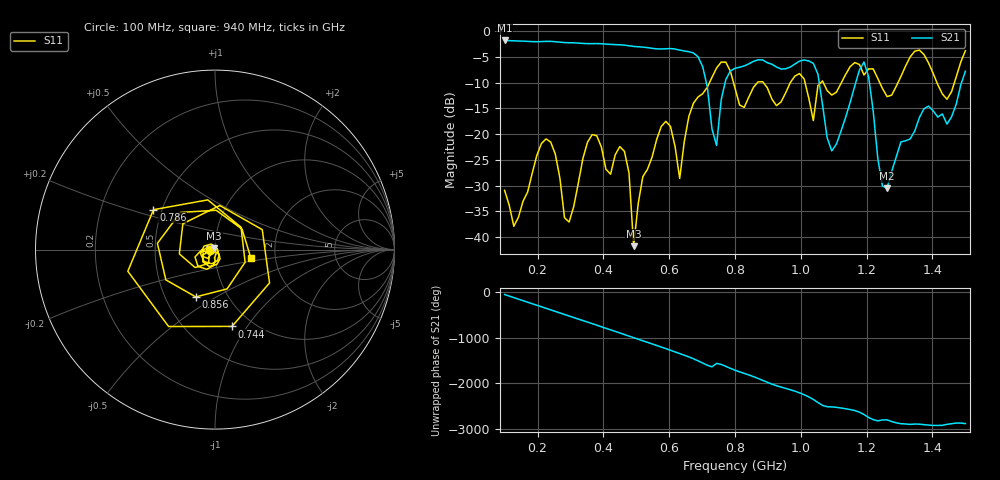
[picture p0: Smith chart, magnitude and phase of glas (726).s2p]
! NanoVNA-App
! Date: 2025-09-25 16:01:08
! Start: 100MHz Stop: 1,5GHz Points: 101
! S-Parameter data: F S11 S21 S12 S22
# Hz S RI R 50
!  Frequency  S11_Real  S11_Imag  S21_Real  S21_Imag  S12_Real  S12_Imag  S22_Real  S22_Imag
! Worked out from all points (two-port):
!   101 points, 100 MHz to 1.5 GHz, reference 50 ohm
!   highest |S21| = -1.80 dB at 100 MHz (marker M1); lowest = -30.5 dB at 1.262 GHz (marker M2)
!   |S21| within 3 dB of the highest: start of sweep to 684.4 MHz
!   lowest |S11| = -41.8 dB at 492 MHz (marker M3), VSWR 1.02, Z = 49.5 + j0.62 ohm
!   |S11| at or under -10 dB: start of sweep to 722.4 MHz; 795.5 MHz to 868.1 MHz (72.58 MHz wide, 8.73 % of centre); 886.2 MHz to 967.9 MHz (81.76 MHz wide, 8.82 % of centre) (the widest 3 of 7)
!   S12 and S22 are empty: the file has one direction only
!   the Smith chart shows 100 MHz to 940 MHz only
!   S11 on the Smith chart (normalised r, x): 100 MHz: 0.94, -0.01; 744 MHz: 0.81, -0.85; 786 MHz: 0.45, +0.24; 856 MHz: 0.71, -0.41; 940 MHz: 1.49, -0.15
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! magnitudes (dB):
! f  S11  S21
! 100 MHz  -30.9  -1.8
! 128 MHz  -37.9  -1.9
! 226 MHz  -20.9  -2.0
! 296 MHz  -37.1  -2.2
! 338 MHz  -24.7  -2.4
! 464 MHz  -23.3  -2.7
! 492 MHz  -41.8  -3.0
! 576 MHz  -18.5  -3.5
! 632 MHz  -28.6  -3.7
! 702 MHz  -12.1  -6.9
! 744 MHz  -7.2  -22.2
! 786 MHz  -7.8  -7.7
! 800 MHz  -11.1  -7.2
! 856 MHz  -10.9  -5.9
! 940 MHz  -13.7  -7.4
! 996 MHz  -8.2  -5.8
! 1.038 GHz  -17.4  -6.3
! 1.094 GHz  -12.4  -23.3
! 1.192 GHz  -8.5  -6.0
! 1.262 GHz  -12.7  -30.5
! 1.276 GHz  -12.4  -27.3
! 1.5 GHz  -3.8  -7.8
